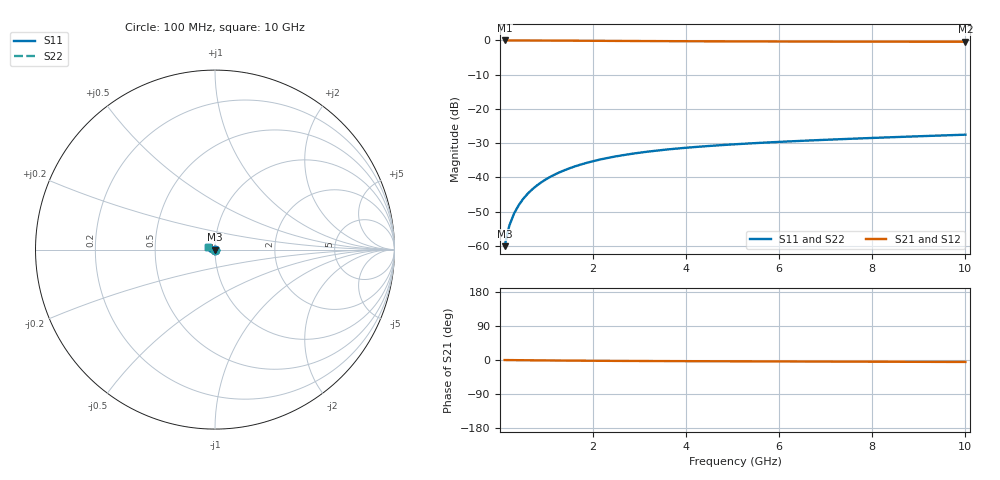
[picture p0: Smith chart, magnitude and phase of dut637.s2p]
! Touchstone file exported from HFSS 2024.1.0
!  File:  C:/UserFiles/LocalFiles/RDL_TSV_Batchsim/temp_TSV1_637_1779790615.aedt
!  Generated:  06:22:53 PM May 26, 2026
!  Design:  TSV1
!  Project:  temp_TSV1_637_1779790615
!  Setup:  Setup1
!  Solution:  Sweep
! Variables:
!  dtsv = 8.87um
!  hbump = 3um
!  htsv = 77.69um
!  lrdl = 252.1521522um
!  p = 40
!  p1 = 57.11um
!  t = 500um
!  trdl = 3um
!  wrdl = 24.89489489um
# GHz S MA R 50.000000
! Terminal data exported
! Port[1] = TSV22_T1
! Port[2] = TSV22_T2
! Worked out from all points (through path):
!   100 points, 100 MHz to 10 GHz, reference 50 ohm
!   highest |S21| = 0.00 dB at 100 MHz (marker M1); lowest = -0.4 dB at 10 GHz (marker M2)
!   lowest |S11| = -60.1 dB at 100 MHz (marker M3), VSWR 1.00, Z = 50 - j0.098 ohm
!   |S11| at or under -10 dB: start of sweep to end of sweep
!   |S22| runs from -60.1 to -27.5 dB; largest |S21 - S12| = 7.4e-15
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0.1  0.0009904 -81.7  0.9998 -0.1  0.9998 -0.1  0.0009904 -81.7
! Gamma 0 0 0 0
! Port Impedance 50 0 50 0
0.2  0.001962 -88.8  0.9997 -0.2  0.9997 -0.2  0.001962 -88.8
0.3  0.002937 -92.7  0.9995 -0.4  0.9995 -0.4  0.002937 -92.7
0.4  0.003907 -95.7  0.9992 -0.5  0.9992 -0.5  0.003907 -95.7
0.5  0.004869 -98.4  0.9989 -0.6  0.9989 -0.6  0.004869 -98.4
0.6  0.00582 -100.9  0.9985 -0.7  0.9985 -0.7  0.00582 -100.9
0.7  0.006759 -103.2  0.998 -0.8  0.998 -0.8  0.006759 -103.2
0.8  0.007682 -105.5  0.9975 -0.9  0.9975 -0.9  0.007682 -105.5
0.9  0.00859 -107.7  0.9969 -1.0  0.9969 -1.0  0.00859 -107.7
1.1  0.01035 -112.0  0.9957 -1.2  0.9957 -1.2  0.01035 -112.0
1.4  0.01284 -118.0  0.9935 -1.5  0.9935 -1.5  0.01284 -118.0
1.6  0.0144 -121.9  0.9919 -1.7  0.9919 -1.7  0.0144 -121.9
1.8  0.01587 -125.6  0.9903 -1.9  0.9903 -1.9  0.01587 -125.6
2.1  0.0179 -130.8  0.9878 -2.1  0.9878 -2.1  0.0179 -130.9
2.5  0.02033 -137.4  0.9845 -2.3  0.9845 -2.3  0.02033 -137.4
2.9  0.02245 -143.4  0.9814 -2.6  0.9814 -2.6  0.02245 -143.4
3.4  0.02475 -150.3  0.9778 -2.8  0.9778 -2.8  0.02475 -150.3
4.2  0.0278 -159.9  0.973 -3.1  0.973 -3.1  0.0278 -159.9
5.1  0.03061 -169.1  0.9688 -3.5  0.9688 -3.5  0.03061 -169.1
6.7  0.03472 177.5  0.9636 -4.0  0.9636 -4.0  0.03472 177.4
8.4  0.03857 166.1  0.96 -4.6  0.96 -4.6  0.03857 166.1
10  0.04207 157.4  0.9577 -5.2  0.9577 -5.2  0.04208 157.4
